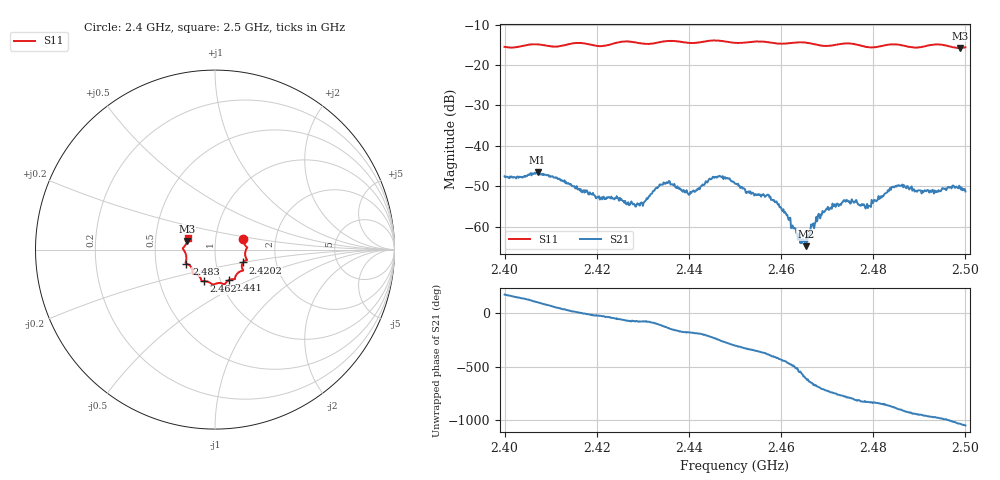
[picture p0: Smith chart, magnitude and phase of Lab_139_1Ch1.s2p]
# Hz S RI R 50
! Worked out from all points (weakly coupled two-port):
!   601 points, 2.4 GHz to 2.5 GHz, reference 50 ohm
!   highest |S21| = -46.62 dB at 2.4072 GHz (marker M1); lowest = -64.9 dB at 2.4653 GHz (marker M2)
!   lowest |S11| = -15.8 dB at 2.4988 GHz (marker M3), VSWR 1.39, Z = 36.4 + j3.45 ohm
!   |S11| at or under -10 dB: start of sweep to end of sweep
!   S12 and S22 are empty: the file has one direction only
!   S11 on the Smith chart (normalised r, x): 2.4 GHz: 1.36, +0.17; 2.4202 GHz: 1.35, -0.20; 2.441 GHz: 1.10, -0.39; 2.462 GHz: 0.83, -0.30; 2.483 GHz: 0.72, -0.12; 2.5 GHz: 0.73, +0.09
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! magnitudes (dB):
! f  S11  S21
! 2.4 GHz  -15.5  -47.5
! 2.4072 GHz  -14.9  -46.6
! 2.4167 GHz  -14.6  -51.4
! 2.4202 GHz  -15.3  -52.6
! 2.4288 GHz  -14.5  -54.2
! 2.4333 GHz  -14.4  -50.2
! 2.4355 GHz  -14.1  -49.1
! 2.441 GHz  -14.6  -51.1
! 2.4457 GHz  -13.9  -47.8
! 2.45 GHz  -14.5  -49.4
! 2.4572 GHz  -14.4  -52.1
! 2.462 GHz  -14.6  -57.8
! 2.464 GHz  -14.4  -61.8
! 2.4653 GHz  -14.5  -64.9
! 2.4667 GHz  -14.7  -59.9
! 2.4717 GHz  -15.1  -54.5
! 2.474 GHz  -14.7  -53.9
! 2.4788 GHz  -15.6  -55.4
! 2.483 GHz  -15.0  -51.6
! 2.4833 GHz  -15.0  -51.3
! 2.4988 GHz  -15.8  -50.2
! 2.5 GHz  -15.6  -51.3
